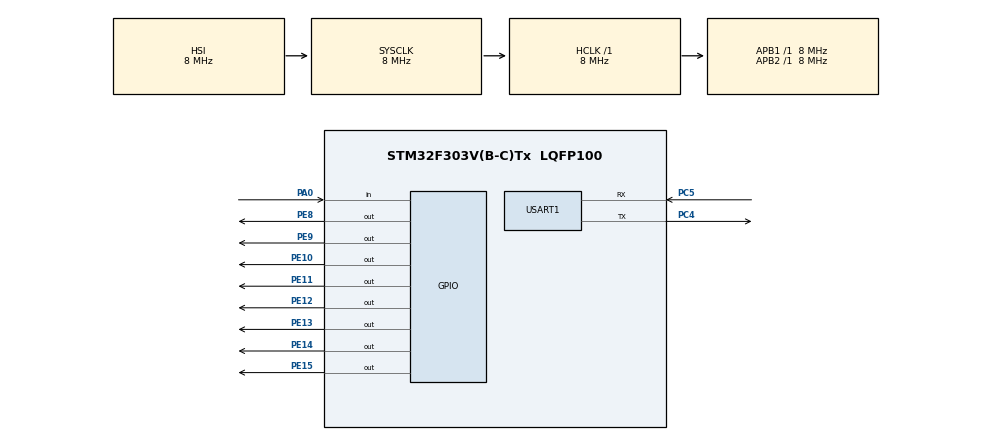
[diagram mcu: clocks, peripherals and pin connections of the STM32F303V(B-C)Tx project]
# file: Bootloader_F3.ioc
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Mcu.Family=STM32F3
Mcu.Name=STM32F303V(B-C)Tx
Mcu.Package=LQFP100
NVIC.PriorityGroup=NVIC_PRIORITYGROUP_4
PA0.Signal=GPIO_Input
PC4.Mode=Asynchronous
PC4.Signal=USART1_TX
PC5.Mode=Asynchronous
PC5.Signal=USART1_RX
PE10.Signal=GPIO_Output
PE11.Signal=GPIO_Output
PE12.Signal=GPIO_Output
PE13.Signal=GPIO_Output
PE14.Signal=GPIO_Output
PE15.Signal=GPIO_Output
PE8.Signal=GPIO_Output
PE9.Signal=GPIO_Output
ProjectManager.HeapSize=0x200
ProjectManager.StackSize=0x400
ProjectManager.TargetToolchain=STM32CubeIDE
RCC.AHBFreq_Value=8000000
RCC.APB1Freq_Value=8000000
RCC.APB2Freq_Value=8000000
RCC.CortexFreq_Value=8000000
RCC.HSE_VALUE=8000000
RCC.HSI_VALUE=8000000
RCC.LSE_VALUE=32768
RCC.SYSCLKFreq_VALUE=8000000
USART1.VirtualMode-Asynchronous=VM_ASYNC
board=custom

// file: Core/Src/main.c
/* USER CODE BEGIN Header */
/**
  ******************************************************************************
  * @file           : main.c
  * @brief          : Main program body
  ******************************************************************************
  * @attention
  *
  * Copyright (c) 2024 STMicroelectronics.
  * All rights reserved.
  *
  * This software is licensed under terms that can be found in the LICENSE file
  * in the root directory of this software component.
  * If no LICENSE file comes with this software, it is provided AS-IS.
  *
  ******************************************************************************
  */
/* USER CODE END Header */
#include "main.h"

/* USER CODE BEGIN Includes */
#include <stdio.h>
/* USER CODE END Includes */

/* USER CODE BEGIN PM */
#define MAJOR 0   // BL Major version Number
#define MINOR 1   // BL Minor version Number
/* USER CODE END PM */

UART_HandleTypeDef huart1;

/* USER CODE BEGIN PV */
const uint8_t BL_Version[2] = { MAJOR, MINOR };
/* USER CODE END PV */

void SystemClock_Config(void);
static void MX_GPIO_Init(void);
static void MX_USART1_UART_Init(void);
/* USER CODE BEGIN PFP */
static void goto_application( void );
/* USER CODE END PFP */

int main(void)
{

  /* MCU Configuration--------------------------------------------------------*/

  /* Reset of all peripherals, Initializes the Flash interface and the Systick. */
  HAL_Init();

  /* Configure the system clock */
  SystemClock_Config();

  /* Initialize all configured peripherals */
  MX_GPIO_Init();
  MX_USART1_UART_Init();
  /* USER CODE BEGIN 2 */
  HAL_GPIO_WritePin(GPIOE, GPIO_PIN_9, GPIO_PIN_SET );    //Green LED ON
  HAL_GPIO_WritePin(GPIOE, GPIO_PIN_8, GPIO_PIN_SET );    //Green LED ON
  printf("Starting Bootloader(%d.%d)\n", BL_Version[0], BL_Version[1] );
  HAL_Delay(2000);   //2sec delay for nothing

  // Jump to application
  goto_application();
  /* USER CODE END 2 */

  /* Infinite loop */
  while (1)
  {

  }
}

void SystemClock_Config(void)
{
  RCC_OscInitTypeDef RCC_OscInitStruct = {0};
  RCC_ClkInitTypeDef RCC_ClkInitStruct = {0};
  RCC_PeriphCLKInitTypeDef PeriphClkInit = {0};

  /** Initializes the RCC Oscillators according to the specified parameters
  * in the RCC_OscInitTypeDef structure.
  */
  RCC_OscInitStruct.OscillatorType = RCC_OSCILLATORTYPE_HSI;
  RCC_OscInitStruct.HSIState = RCC_HSI_ON;
  RCC_OscInitStruct.HSICalibrationValue = RCC_HSICALIBRATION_DEFAULT;
  RCC_OscInitStruct.PLL.PLLState = RCC_PLL_NONE;
  if (HAL_RCC_OscConfig(&RCC_OscInitStruct) != HAL_OK)
  {
    Error_Handler();
  }

  /** Initializes the CPU, AHB and APB buses clocks
  */
  RCC_ClkInitStruct.ClockType = RCC_CLOCKTYPE_HCLK|RCC_CLOCKTYPE_SYSCLK
                              |RCC_CLOCKTYPE_PCLK1|RCC_CLOCKTYPE_PCLK2;
  RCC_ClkInitStruct.SYSCLKSource = RCC_SYSCLKSOURCE_HSI;
  RCC_ClkInitStruct.AHBCLKDivider = RCC_SYSCLK_DIV1;
  RCC_ClkInitStruct.APB1CLKDivider = RCC_HCLK_DIV1;
  RCC_ClkInitStruct.APB2CLKDivider = RCC_HCLK_DIV1;

  if (HAL_RCC_ClockConfig(&RCC_ClkInitStruct, FLASH_LATENCY_0) != HAL_OK)
  {
    Error_Handler();
  }
  PeriphClkInit.PeriphClockSelection = RCC_PERIPHCLK_USART1;
  PeriphClkInit.Usart1ClockSelection = RCC_USART1CLKSOURCE_PCLK2;
  if (HAL_RCCEx_PeriphCLKConfig(&PeriphClkInit) != HAL_OK)
  {
    Error_Handler();
  }
}

static void MX_USART1_UART_Init(void)
{

  huart1.Instance = USART1;
  huart1.Init.BaudRate = 38400;
  huart1.Init.WordLength = UART_WORDLENGTH_8B;
  huart1.Init.StopBits = UART_STOPBITS_1;
  huart1.Init.Parity = UART_PARITY_NONE;
  huart1.Init.Mode = UART_MODE_TX_RX;
  huart1.Init.HwFlowCtl = UART_HWCONTROL_NONE;
  huart1.Init.OverSampling = UART_OVERSAMPLING_16;
  huart1.Init.OneBitSampling = UART_ONE_BIT_SAMPLE_DISABLE;
  huart1.AdvancedInit.AdvFeatureInit = UART_ADVFEATURE_NO_INIT;
  if (HAL_UART_Init(&huart1) != HAL_OK)
  {
    Error_Handler();
  }

}

static void MX_GPIO_Init(void)
{
  GPIO_InitTypeDef GPIO_InitStruct = {0};

  /* GPIO Ports Clock Enable */
  __HAL_RCC_GPIOA_CLK_ENABLE();
  __HAL_RCC_GPIOC_CLK_ENABLE();
  __HAL_RCC_GPIOE_CLK_ENABLE();

  /*Configure GPIO pin Output Level */
  HAL_GPIO_WritePin(GPIOE, GPIO_PIN_8|GPIO_PIN_9|GPIO_PIN_10|GPIO_PIN_11
                          |GPIO_PIN_12|GPIO_PIN_13|GPIO_PIN_14|GPIO_PIN_15, GPIO_PIN_RESET);

  /*Configure GPIO pin : PA0 */
  GPIO_InitStruct.Pin = GPIO_PIN_0;
  GPIO_InitStruct.Mode = GPIO_MODE_INPUT;
  GPIO_InitStruct.Pull = GPIO_NOPULL;
  HAL_GPIO_Init(GPIOA, &GPIO_InitStruct);

  /*Configure GPIO pins : PE8 PE9 PE10 PE11
                           PE12 PE13 PE14 PE15 */
  GPIO_InitStruct.Pin = GPIO_PIN_8|GPIO_PIN_9|GPIO_PIN_10|GPIO_PIN_11
                          |GPIO_PIN_12|GPIO_PIN_13|GPIO_PIN_14|GPIO_PIN_15;
  GPIO_InitStruct.Mode = GPIO_MODE_OUTPUT_PP;
  GPIO_InitStruct.Pull = GPIO_NOPULL;
  GPIO_InitStruct.Speed = GPIO_SPEED_FREQ_LOW;
  HAL_GPIO_Init(GPIOE, &GPIO_InitStruct);

}

/* USER CODE BEGIN 4 */
#ifdef __GNUC__
  /* With GCC, small printf (option LD Linker->Libraries->Small printf
     set to 'Yes') calls __io_putchar() */
int __io_putchar(int ch)
#else
int fputc(int ch, FILE *f)
#endif /* __GNUC__ */
{
  /* Place your implementation of fputc here */
  /* e.g. write a character to the UART3 and Loop until the end of transmission */
  HAL_UART_Transmit(&huart1, (uint8_t *)&ch, 1, HAL_MAX_DELAY);

  return ch;
}
static void goto_application(void)
{
  printf("Gonna Jump to Application\n");

  void (*app_reset_handler)(void) = (void*)(*((volatile uint32_t*) (0x08014000 + 4U)));

  // Turn OFF the Green Led to tell the user that Bootloader is not running
  HAL_GPIO_WritePin(GPIOE, GPIO_PIN_8, GPIO_PIN_RESET );    //Green LED OFF

  /* Reset the Clock */
  HAL_RCC_DeInit();
  HAL_DeInit();
  __set_MSP(*(volatile uint32_t*) 0x08014004);
  SysTick->CTRL = 0;
  SysTick->LOAD = 0;
  SysTick->VAL = 0;

  /* Jump to application */
  app_reset_handler();    //call the app reset handler
}
/* USER CODE END 4 */

void Error_Handler(void)
{
  __disable_irq();
  while (1)
  {
  }
}
